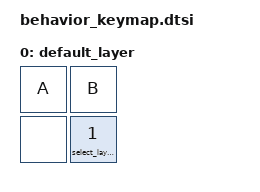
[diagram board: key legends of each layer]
#include <dt-bindings/zmk/keys.h>
#include <behaviors.dtsi>
#include <dt-bindings/zmk/kscan_mock.h>
#include <dt-bindings/zmk/matrix_transform.h>

/*
 * Two physical layouts sharing the 2x2 mock kscan. The alternate layout swaps the rows, so a given
 * *physical* key has a different position number in each layout. The position map records which
 * positions correspond to the same physical key.
 *
 *   physical key  stock position  alt position
 *   RC(0,0)             0             2
 *   RC(0,1)             1             3
 *   RC(1,0)             2             0
 *   RC(1,1)             3             1
 */

/ {
    chosen {
        /delete-property/ zmk,kscan;
        zmk,physical-layout = &stock_layout;
    };

    stock_transform: stock_transform {
        compatible = "zmk,matrix-transform";
        columns = <2>;
        rows = <2>;
        map = <RC(0,0) RC(0,1) RC(1,0) RC(1,1)>;
    };

    alt_transform: alt_transform {
        compatible = "zmk,matrix-transform";
        columns = <2>;
        rows = <2>;
        map = <RC(1,0) RC(1,1) RC(0,0) RC(0,1)>;
    };

    stock_layout: stock_layout {
        compatible = "zmk,physical-layout";
        display-name = "Stock";
        kscan = <&kscan>;
        transform = <&stock_transform>;
    };

    alt_layout: alt_layout {
        compatible = "zmk,physical-layout";
        display-name = "Alt";
        kscan = <&kscan>;
        transform = <&alt_transform>;
    };

    position_map {
        compatible = "zmk,physical-layout-position-map";
        complete;

        stock {
            physical-layout = <&stock_layout>;
            positions = <0 1 2 3>;
        };

        alt {
            physical-layout = <&alt_layout>;
            positions = <2 3 0 1>;
        };
    };

    behaviors {
        select_layout: select_layout {
            compatible = "zmk,behavior-select-physical-layout";
            #binding-cells = <1>;
        };
    };

    combos {
        compatible = "zmk,combos";

        // Defined against the stock layout: the top row, i.e. the physical keys RC(0,0) + RC(0,1).
        combo_top_row {
            timeout-ms = <30>;
            key-positions = <0 1>;
            bindings = <&kp C>;
        };
    };

    keymap {
        compatible = "zmk,keymap";

        /*
         * Positions are stock-layout positions:
         *   0: RC(0,0) &kp A     1: RC(0,1) &kp B
         *   2: RC(1,0) &none     3: RC(1,1) &select_layout 1
         *
         * The layout is switched while RC(1,1) is held, so its *release* arrives as alt position 1.
         * The keymap resolves bindings through the selected-to-stock position map, and alt position
         * 1 maps back to stock position 3, so the release still reaches &select_layout.
         */
        default_layer {
            bindings = <
                &kp A &kp B
                &none &select_layout 1
            >;
        };
    };
};
